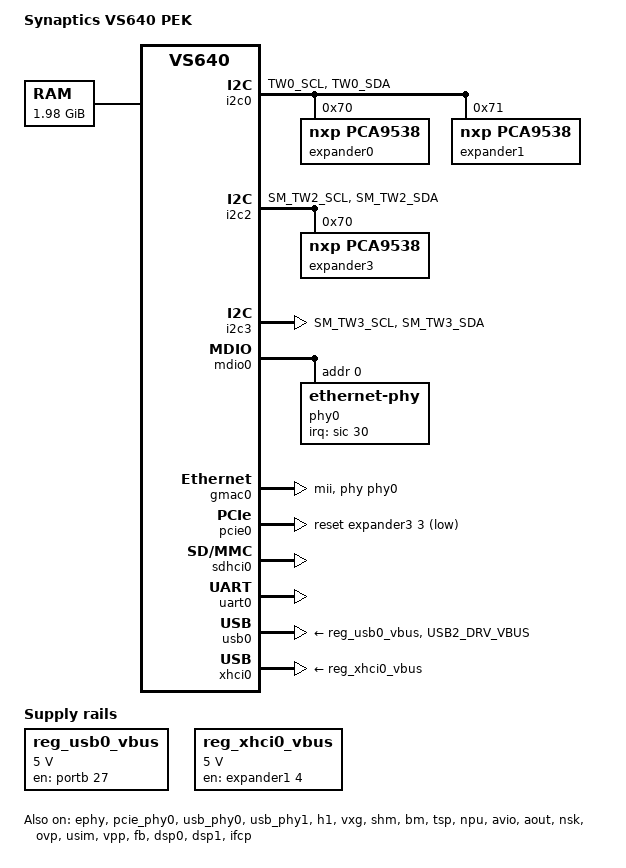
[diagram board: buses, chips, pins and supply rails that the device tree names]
// SPDX-License-Identifier: (GPL-2.0 OR MIT)
/*
 * Copyright (C) 2020 Synaptics Incorporated
 *
 * Author: Benson Gui <begu@synaptics.com>
 */

/dts-v1/;

/memreserve/ 0x7f000000 0x01000000;

#include <dt-bindings/gpio/gpio.h>

#include "vs640.dtsi"

/ {
	model = "Synaptics VS640 PEK";
	compatible = "syna,vs640-pek", "syna,vs640";

	chosen {
		stdout-path = "serial0:115200n8";
	};

	memory {
		device_type = "memory";
		reg = <0 0x01000000 0 0x7f000000>;
	};

	ion {
		compatible = "syna,ion-berlin-heaps";
		pool-num = <2>;
		reg-names = "NonSecure-NC", "Secure";
		reg = <0 0x7f000000 0 0x00800000>,
		      <0 0x7f800000 0 0x00800000>;
		attributes-num-per-pool = <2>;
		pool-attributes = <0x00000105 0x00000F3A 0x00000102 0x00000F3D>;
	};

	regulators {
		compatible = "simple-bus";
		#address-cells = <1>;
		#size-cells = <0>;

		reg_usb0_vbus: usb0_vbus {
			compatible = "regulator-fixed";
			regulator-name = "usb0_vbus";
			regulator-min-microvolt = <5000000>;
			regulator-max-microvolt = <5000000>;
			gpio = <&portb 27 GPIO_ACTIVE_HIGH>;
			enable-active-high;
		};

		reg_xhci0_vbus: xhci0_vbus {
			compatible = "regulator-fixed";
			regulator-name = "xhci0_vbus";
			regulator-min-microvolt = <5000000>;
			regulator-max-microvolt = <5000000>;
			gpio = <&expander1 4 GPIO_ACTIVE_HIGH>;
			enable-active-high;
		};
	};
};

&cpu0 {
	/delete-property/ operating-points-v2;
};

&pinctrl {
	i2c0_pmux: i2c0-pmux {
		groups = "TW0_SCL", "TW0_SDA";
		function = "tw0";
		drive-strength = <7>;
	};

	usb0_pmux: usb0-pmux {
		groups = "USB2_DRV_VBUS";
		function = "gpio";
	};

	scrd_pmux: scrd-pmux {
		groups ="SCRD0_RST", "SCRD0_DCLK", "SPI1_SS2n", "SPI1_SS3n", "SCRD0_DIO", "SCRD0_CRD_PRES";
		function = "scrd0";
	};
};

&sm_pinctrl {
	i2c2_pmux: i2c2-pmux {
		groups = "SM_TW2_SCL", "SM_TW2_SDA";
		function = "tw2";
	};

	i2c3_pmux: i2c3-pmux {
		groups = "SM_TW3_SCL", "SM_TW3_SDA";
		function = "tw3";
	};
};

&avio_pinctrl {
	i2s1_pmux: i2s1-pmux {
		groups = "I2S1_BCLKIO", "I2S1_LRCKIO", "I2S1_DO0", "I2S1_MCLK";
		function = "i2s1";
	};

	spdifo_pmux: spdifo-pmux {
		groups = "SPDIFO";
		function = "spdifo";
	};
};

&i2c0 {
	status = "okay";
	pinctrl-names = "default";
	pinctrl-0 = <&i2c0_pmux>;

	expander0: gpio@70 {
		compatible = "nxp,pca9538";
		reg = <0x70>;
		gpio-controller;
		#gpio-cells = <2>;
	};

	expander1: gpio@71 {
		compatible = "nxp,pca9538";
		reg = <0x71>;
		gpio-controller;
		#gpio-cells = <2>;
	};
};

&i2c2 {
	status = "okay";
	pinctrl-names = "default";
	pinctrl-0 = <&i2c2_pmux>;
	no-irq-suspend;

	expander3: gpio@70 {
		compatible = "nxp,pca9538";
		reg = <0x70>;
		gpio-controller;
		#gpio-cells = <2>;
	};
};

&i2c3 {
	status = "okay";
	pinctrl-names = "default";
	pinctrl-0 = <&i2c3_pmux>;
};

&ephy {
	status = "okay";
};

&mdio0 {
	phy0: ethernet-phy@0 {
		reg = <0>;
		interrupt-parent = <&sic>;
		interrupts = <30>;
		ephy = <&ephy>;
	};
};

&gmac0 {
	status = "okay";
	phy-handle = <&phy0>;
	phy-mode = "mii";
};

&pcie_phy0 {
	status = "okay";
};

&pcie0 {
	status = "okay";
	reset-gpios = <&expander3 3 GPIO_ACTIVE_LOW>;
	power-gpios = <&expander3 2 GPIO_ACTIVE_HIGH>;
};

&sdhci0 {
	status = "okay";
	sdclkdl-dc = /bits/ 8 <26>;
	mmc-ddr-1_8v;
	mmc-hs200-1_8v;
	mmc-hs400-1_8v;
};

&uart0 {
	status = "okay";
};

&usb0 {
	pinctrl-names = "default";
	pinctrl-0 = <&usb0_pmux>;
	vbus-supply = <&reg_usb0_vbus>;
	status = "okay";
};

&usb_phy0 {
	status = "okay";
};

&xhci0 {
	vbus-supply = <&reg_xhci0_vbus>;
	status = "okay";
};

&usb_phy1{
	status = "okay";
};

&h1 {
	status = "okay";
};

&vxg {
	status = "okay";
};

&shm {
	status = "okay";
};

&bm {
	status = "okay";
};

&tsp {
	status = "okay";
};

&npu {
	status = "okay";
};

&avio {
	status = "okay";
};

&aout {
	status = "okay";
	pinctrl-0 = <&i2s1_pmux>, <&spdifo_pmux>;
	pinctrl-names = "default";
};

&nsk {
	status = "okay";
};

&ovp {
	status = "okay";
};

&usim {
	status = "okay";
	pinctrl-0 = <&scrd_pmux>;
	pinctrl-names = "default";
	voltcfg1-gpios = <&portb 2 GPIO_ACTIVE_HIGH>;
	voltcfg2-gpios = <&portb 1 GPIO_ACTIVE_HIGH>;
	cmdvcc-gpios = <&expander0 2 GPIO_ACTIVE_HIGH>;
	chipsel-gpios = <&expander0 3 GPIO_ACTIVE_HIGH>;
	clkdiv1-gpios = <&expander0 4 GPIO_ACTIVE_HIGH>;
	clkdiv2-gpios = <&expander0 5 GPIO_ACTIVE_HIGH>;
	ext-volt-cfg-div = <0 1 3>; /* <VOLT_CFG_1_8V VOLT_CFG_3_3V VOLT_CFG_5_0V> */
	ext-clk-cfg-div = <0 1 2 3>; /* <FXTAL/8 FXTAL/4 FXTAL/1 FXTAL/2> */
};

&vpp {
	status = "okay";
};

&fb {
	status = "okay";
};

&dsp0 {
	status = "okay";
};

&dsp1 {
	status = "okay";
};

&ifcp {
	status = "okay";
};

&axi_meter {
	status = "okay";
};
